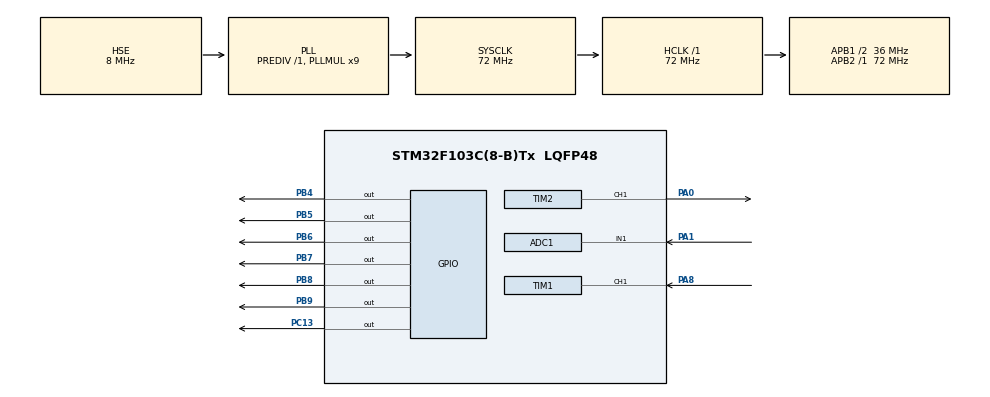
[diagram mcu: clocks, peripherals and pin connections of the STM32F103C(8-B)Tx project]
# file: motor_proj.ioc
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ADC1.Channel-0\#ChannelRegularConversion=ADC_CHANNEL_1
ADC1.NbrOfConversionFlag=1
ADC1.Rank-0\#ChannelRegularConversion=1
ADC1.SamplingTime-0\#ChannelRegularConversion=ADC_SAMPLETIME_1CYCLE_5
ADC1.master=1
Mcu.Family=STM32F1
Mcu.Name=STM32F103C(8-B)Tx
Mcu.Package=LQFP48
NVIC.PriorityGroup=NVIC_PRIORITYGROUP_4
NVIC.TIM1_CC_IRQn=true\:0\:0\:false\:false\:true\:true\:true
NVIC.TIM2_IRQn=true\:0\:0\:false\:false\:true\:true\:true
PA0-WKUP.Signal=S_TIM2_CH1_ETR
PA1.Signal=ADCx_IN1
PA13.Mode=Trace_Asynchronous_SW
PA13.Signal=SYS_JTMS-SWDIO
PA14.Mode=Trace_Asynchronous_SW
PA14.Signal=SYS_JTCK-SWCLK
PA8.Signal=S_TIM1_CH1
PB3.Mode=Trace_Asynchronous_SW
PB3.Signal=SYS_JTDO-TRACESWO
PB4.Signal=GPIO_Output
PB5.Signal=GPIO_Output
PB6.Signal=GPIO_Output
PB7.Signal=GPIO_Output
PB8.Signal=GPIO_Output
PB9.Signal=GPIO_Output
PC13-TAMPER-RTC.Signal=GPIO_Output
PD0-OSC_IN.Mode=HSE-External-Oscillator
PD0-OSC_IN.Signal=RCC_OSC_IN
PD1-OSC_OUT.Mode=HSE-External-Oscillator
PD1-OSC_OUT.Signal=RCC_OSC_OUT
ProjectManager.HeapSize=0x200
ProjectManager.StackSize=0x400
ProjectManager.TargetToolchain=STM32CubeIDE
RCC.ADCPresc=RCC_ADCPCLK2_DIV6
RCC.AHBFreq_Value=72000000
RCC.APB1CLKDivider=RCC_HCLK_DIV2
RCC.APB1Freq_Value=36000000
RCC.APB1TimFreq_Value=72000000
RCC.APB2Freq_Value=72000000
RCC.APB2TimFreq_Value=72000000
RCC.HCLKFreq_Value=72000000
RCC.PLLMUL=RCC_PLL_MUL9
RCC.PLLSourceVirtual=RCC_PLLSOURCE_HSE
RCC.SYSCLKFreq_VALUE=72000000
RCC.SYSCLKSource=RCC_SYSCLKSOURCE_PLLCLK
RCC.USBFreq_Value=72000000
SH.ADCx_IN1.0=ADC1_IN1,IN1
SH.S_TIM1_CH1.0=TIM1_CH1,Input_Capture1_from_TI1
SH.S_TIM2_CH1_ETR.0=TIM2_CH1,PWM Generation1 CH1
TIM1.Channel-Input_Capture1_from_TI1=TIM_CHANNEL_1
TIM1.Prescaler=72-1
TIM2.Channel-PWM\ Generation1\ CH1=TIM_CHANNEL_1
TIM2.Period=100-1
TIM2.Prescaler=72-1
VP_TIM1_VS_ClockSourceINT.Mode=Internal
VP_TIM2_VS_ClockSourceINT.Mode=Internal
board=custom

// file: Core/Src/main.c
/* USER CODE BEGIN Header */
/**
  ******************************************************************************
  * @file           : main.c
  * @brief          : Main program body
  ******************************************************************************
  * @attention
  *
  * <h2><center>&copy; Copyright (c) 2024 STMicroelectronics.
  * All rights reserved.</center></h2>
  *
  * This software component is licensed by ST under BSD 3-Clause license,
  * the "License"; You may not use this file except in compliance with the
  * License. You may obtain a copy of the License at:
  *                        opensource.org/licenses/BSD-3-Clause
  *
  ******************************************************************************
  */
/* USER CODE END Header */
#include "main.h"

/* USER CODE BEGIN Includes */
#include "LCD16x2.h"
#include <stdio.h>
#include <math.h>

/* USER CODE END Includes */

ADC_HandleTypeDef hadc1;

TIM_HandleTypeDef htim1;
TIM_HandleTypeDef htim2;

void SystemClock_Config(void);
static void MX_GPIO_Init(void);
static void MX_ADC1_Init(void);
static void MX_TIM1_Init(void);
static void MX_TIM2_Init(void);

/* USER CODE BEGIN 0 */

char adc_value[100];
char rpm_value[100];
int adc_voltage = 0 , ccr_value = 0 , rpm=0 ,  adc_val = 0 , adc_percent = 0 , rpm_val=0  , rpm_percent=0 ;

/* USER CODE END 0 */

int main(void)
{

  /* MCU Configuration--------------------------------------------------------*/

  /* Reset of all peripherals, Initializes the Flash interface and the Systick. */
  HAL_Init();

  /* Configure the system clock */
  SystemClock_Config();

  /* Initialize all configured peripherals */
  MX_GPIO_Init();
  MX_ADC1_Init();
  MX_TIM1_Init();
  MX_TIM2_Init();
  /* USER CODE BEGIN 2 */

      HAL_TIM_PWM_Start(&htim2, TIM_CHANNEL_1);
      HAL_TIM_IC_Start_IT(&htim1,TIM_CHANNEL_1);
//    TIM2->CCR1 = 100;

      HAL_ADC_Init(&hadc1);

      LCD_Init();
      HAL_Delay(400);
      LCD_Clear();

  /* USER CODE END 2 */

  /* Infinite loop */
  while (1)
  {

    /* USER CODE BEGIN 3 */

          //ADC

	 	  HAL_ADC_Start(&hadc1);
	 	  HAL_ADC_PollForConversion(&hadc1, 1000);
	 	  //adc_voltage = HAL_ADC_GetValue(&hadc1) / 4096.0 * 330.0; //0-330 voltage
	 	 adc_val = HAL_ADC_GetValue(&hadc1);
	 	 adc_percent = adc_val/4096.0 * 100.0 ; // 0-100 adc percent
	 	  //pwm
         rpm_val = 18000.0 * adc_val / 4096.0 ;
         rpm_percent = rpm_val / 18000.0 * 100.0 ;
	 	 TIM2->CCR1 = adc_val ;
	 	 HAL_Delay(100);

	 	 //lcd

	 	  LCD_Clear();
	 	  LCD_Set_Cursor(1 , 1);
	 	 sprintf(rpm_value, "rpm_value:%d",rpm_val);
	 	  LCD_Write_String(rpm_value);

		  LCD_Set_Cursor(2 , 1);
	 	  sprintf(adc_value, "adc_percent:%d", adc_percent);
	 	  LCD_Write_String(adc_value);
		  HAL_Delay(100);

  }
  /* USER CODE END 3 */
}

void SystemClock_Config(void)
{
  RCC_OscInitTypeDef RCC_OscInitStruct = {0};
  RCC_ClkInitTypeDef RCC_ClkInitStruct = {0};
  RCC_PeriphCLKInitTypeDef PeriphClkInit = {0};

  /** Initializes the RCC Oscillators according to the specified parameters
  * in the RCC_OscInitTypeDef structure.
  */
  RCC_OscInitStruct.OscillatorType = RCC_OSCILLATORTYPE_HSE;
  RCC_OscInitStruct.HSEState = RCC_HSE_ON;
  RCC_OscInitStruct.HSEPredivValue = RCC_HSE_PREDIV_DIV1;
  RCC_OscInitStruct.HSIState = RCC_HSI_ON;
  RCC_OscInitStruct.PLL.PLLState = RCC_PLL_ON;
  RCC_OscInitStruct.PLL.PLLSource = RCC_PLLSOURCE_HSE;
  RCC_OscInitStruct.PLL.PLLMUL = RCC_PLL_MUL9;
  if (HAL_RCC_OscConfig(&RCC_OscInitStruct) != HAL_OK)
  {
    Error_Handler();
  }
  /** Initializes the CPU, AHB and APB buses clocks
  */
  RCC_ClkInitStruct.ClockType = RCC_CLOCKTYPE_HCLK|RCC_CLOCKTYPE_SYSCLK
                              |RCC_CLOCKTYPE_PCLK1|RCC_CLOCKTYPE_PCLK2;
  RCC_ClkInitStruct.SYSCLKSource = RCC_SYSCLKSOURCE_PLLCLK;
  RCC_ClkInitStruct.AHBCLKDivider = RCC_SYSCLK_DIV1;
  RCC_ClkInitStruct.APB1CLKDivider = RCC_HCLK_DIV2;
  RCC_ClkInitStruct.APB2CLKDivider = RCC_HCLK_DIV1;

  if (HAL_RCC_ClockConfig(&RCC_ClkInitStruct, FLASH_LATENCY_2) != HAL_OK)
  {
    Error_Handler();
  }
  PeriphClkInit.PeriphClockSelection = RCC_PERIPHCLK_ADC;
  PeriphClkInit.AdcClockSelection = RCC_ADCPCLK2_DIV6;
  if (HAL_RCCEx_PeriphCLKConfig(&PeriphClkInit) != HAL_OK)
  {
    Error_Handler();
  }
}

static void MX_ADC1_Init(void)
{

  ADC_ChannelConfTypeDef sConfig = {0};

  /** Common config
  */
  hadc1.Instance = ADC1;
  hadc1.Init.ScanConvMode = ADC_SCAN_DISABLE;
  hadc1.Init.ContinuousConvMode = DISABLE;
  hadc1.Init.DiscontinuousConvMode = DISABLE;
  hadc1.Init.ExternalTrigConv = ADC_SOFTWARE_START;
  hadc1.Init.DataAlign = ADC_DATAALIGN_RIGHT;
  hadc1.Init.NbrOfConversion = 1;
  if (HAL_ADC_Init(&hadc1) != HAL_OK)
  {
    Error_Handler();
  }
  /** Configure Regular Channel
  */
  sConfig.Channel = ADC_CHANNEL_1;
  sConfig.Rank = ADC_REGULAR_RANK_1;
  sConfig.SamplingTime = ADC_SAMPLETIME_1CYCLE_5;
  if (HAL_ADC_ConfigChannel(&hadc1, &sConfig) != HAL_OK)
  {
    Error_Handler();
  }

}

static void MX_TIM1_Init(void)
{

  TIM_ClockConfigTypeDef sClockSourceConfig = {0};
  TIM_MasterConfigTypeDef sMasterConfig = {0};
  TIM_IC_InitTypeDef sConfigIC = {0};

  htim1.Instance = TIM1;
  htim1.Init.Prescaler = 72-1;
  htim1.Init.CounterMode = TIM_COUNTERMODE_UP;
  htim1.Init.Period = 65535;
  htim1.Init.ClockDivision = TIM_CLOCKDIVISION_DIV1;
  htim1.Init.RepetitionCounter = 0;
  htim1.Init.AutoReloadPreload = TIM_AUTORELOAD_PRELOAD_DISABLE;
  if (HAL_TIM_Base_Init(&htim1) != HAL_OK)
  {
    Error_Handler();
  }
  sClockSourceConfig.ClockSource = TIM_CLOCKSOURCE_INTERNAL;
  if (HAL_TIM_ConfigClockSource(&htim1, &sClockSourceConfig) != HAL_OK)
  {
    Error_Handler();
  }
  if (HAL_TIM_IC_Init(&htim1) != HAL_OK)
  {
    Error_Handler();
  }
  sMasterConfig.MasterOutputTrigger = TIM_TRGO_RESET;
  sMasterConfig.MasterSlaveMode = TIM_MASTERSLAVEMODE_DISABLE;
  if (HAL_TIMEx_MasterConfigSynchronization(&htim1, &sMasterConfig) != HAL_OK)
  {
    Error_Handler();
  }
  sConfigIC.ICPolarity = TIM_INPUTCHANNELPOLARITY_RISING;
  sConfigIC.ICSelection = TIM_ICSELECTION_DIRECTTI;
  sConfigIC.ICPrescaler = TIM_ICPSC_DIV1;
  sConfigIC.ICFilter = 0;
  if (HAL_TIM_IC_ConfigChannel(&htim1, &sConfigIC, TIM_CHANNEL_1) != HAL_OK)
  {
    Error_Handler();
  }

}

static void MX_TIM2_Init(void)
{

  TIM_ClockConfigTypeDef sClockSourceConfig = {0};
  TIM_MasterConfigTypeDef sMasterConfig = {0};
  TIM_OC_InitTypeDef sConfigOC = {0};

  htim2.Instance = TIM2;
  htim2.Init.Prescaler = 72-1;
  htim2.Init.CounterMode = TIM_COUNTERMODE_UP;
  htim2.Init.Period = 100-1;
  htim2.Init.ClockDivision = TIM_CLOCKDIVISION_DIV1;
  htim2.Init.AutoReloadPreload = TIM_AUTORELOAD_PRELOAD_DISABLE;
  if (HAL_TIM_Base_Init(&htim2) != HAL_OK)
  {
    Error_Handler();
  }
  sClockSourceConfig.ClockSource = TIM_CLOCKSOURCE_INTERNAL;
  if (HAL_TIM_ConfigClockSource(&htim2, &sClockSourceConfig) != HAL_OK)
  {
    Error_Handler();
  }
  if (HAL_TIM_PWM_Init(&htim2) != HAL_OK)
  {
    Error_Handler();
  }
  sMasterConfig.MasterOutputTrigger = TIM_TRGO_RESET;
  sMasterConfig.MasterSlaveMode = TIM_MASTERSLAVEMODE_DISABLE;
  if (HAL_TIMEx_MasterConfigSynchronization(&htim2, &sMasterConfig) != HAL_OK)
  {
    Error_Handler();
  }
  sConfigOC.OCMode = TIM_OCMODE_PWM1;
  sConfigOC.Pulse = 0;
  sConfigOC.OCPolarity = TIM_OCPOLARITY_HIGH;
  sConfigOC.OCFastMode = TIM_OCFAST_DISABLE;
  if (HAL_TIM_PWM_ConfigChannel(&htim2, &sConfigOC, TIM_CHANNEL_1) != HAL_OK)
  {
    Error_Handler();
  }
  HAL_TIM_MspPostInit(&htim2);

}

static void MX_GPIO_Init(void)
{
  GPIO_InitTypeDef GPIO_InitStruct = {0};

  /* GPIO Ports Clock Enable */
  __HAL_RCC_GPIOC_CLK_ENABLE();
  __HAL_RCC_GPIOD_CLK_ENABLE();
  __HAL_RCC_GPIOA_CLK_ENABLE();
  __HAL_RCC_GPIOB_CLK_ENABLE();

  /*Configure GPIO pin Output Level */
  HAL_GPIO_WritePin(GPIOC, GPIO_PIN_13, GPIO_PIN_RESET);

  /*Configure GPIO pin Output Level */
  HAL_GPIO_WritePin(GPIOB, GPIO_PIN_4|GPIO_PIN_5|GPIO_PIN_6|GPIO_PIN_7
                          |GPIO_PIN_8|GPIO_PIN_9, GPIO_PIN_RESET);

  /*Configure GPIO pin : PC13 */
  GPIO_InitStruct.Pin = GPIO_PIN_13;
  GPIO_InitStruct.Mode = GPIO_MODE_OUTPUT_PP;
  GPIO_InitStruct.Pull = GPIO_NOPULL;
  GPIO_InitStruct.Speed = GPIO_SPEED_FREQ_LOW;
  HAL_GPIO_Init(GPIOC, &GPIO_InitStruct);

  /*Configure GPIO pins : PB4 PB5 PB6 PB7
                           PB8 PB9 */
  GPIO_InitStruct.Pin = GPIO_PIN_4|GPIO_PIN_5|GPIO_PIN_6|GPIO_PIN_7
                          |GPIO_PIN_8|GPIO_PIN_9;
  GPIO_InitStruct.Mode = GPIO_MODE_OUTPUT_PP;
  GPIO_InitStruct.Pull = GPIO_NOPULL;
  GPIO_InitStruct.Speed = GPIO_SPEED_FREQ_LOW;
  HAL_GPIO_Init(GPIOB, &GPIO_InitStruct);

}

/* USER CODE BEGIN 4 */

void HAL_TIM_IC_CaptureCallback(TIM_HandleTypeDef *htim)
{
	//input_capture = __HAL_TIM_GET_COMPARE(&htim1 , TIM_CHANNEL_1);    //read TIM1 channel 1 capture value
    __HAL_TIM_SET_COUNTER(&htim1, 0);    //reset counter after input capture interrupt occur
	  ccr_value =  TIM1->CCR1;
	  if(ccr_value != 0){
		  rpm = 6000/ccr_value;
	  }
	  }

/* USER CODE END 4 */

void Error_Handler(void)
{
  __disable_irq();
  while (1)
  {
  }
}

/************************ (C) COPYRIGHT STMicroelectronics *****END OF FILE****/
